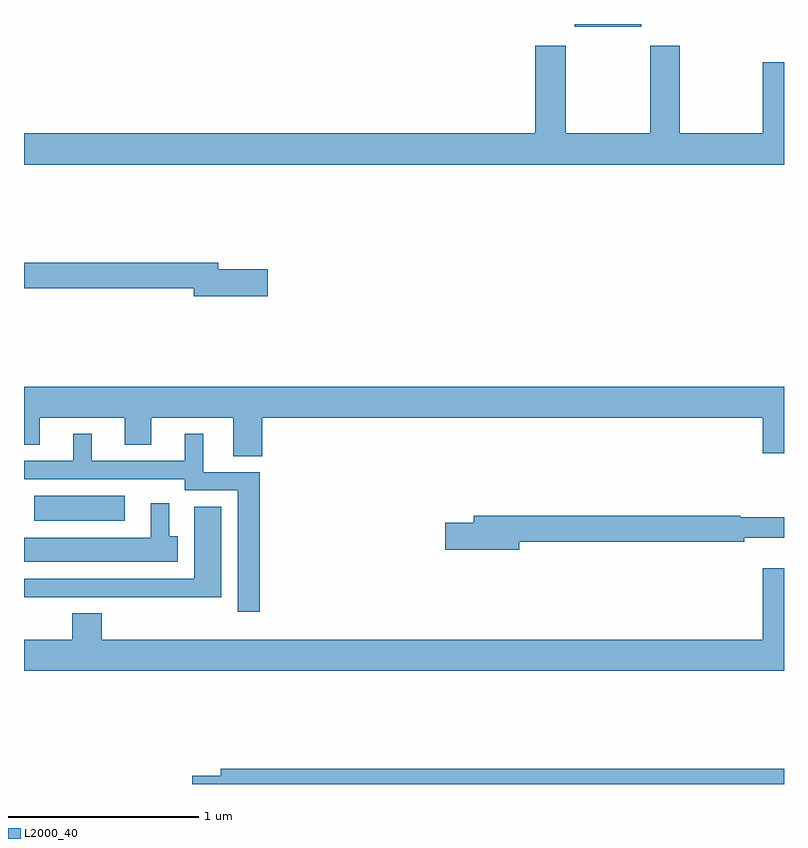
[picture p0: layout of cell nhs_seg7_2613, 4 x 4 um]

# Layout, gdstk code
import gdstk
lib = gdstk.Library(unit=1e-6, precision=1e-09)
def R(c, l, rs):  # rectangles x0, y0, x1, y1
    for r in rs: c.add(gdstk.rectangle(r[:2], r[2:], *l))
def P(c, l, *ps):  # polygons
    for p in ps: c.add(gdstk.Polygon(p, *l))
L2000_40 = (2000, 40)

nhs_seg7_2613 = lib.new_cell('nhs_seg7_2613')
R(nhs_seg7_2613, L2000_40, [(281.055,1021.385,281.53,1021.516), (283.898,1023.986,284.248,1024)])
P(nhs_seg7_2613, L2000_40, [(285,1023.799),(284.888,1023.799),(284.888,1023.424),(284.451,1023.424),(284.451,1023.886),(284.296,1023.886),(284.296,1023.424),(283.851,1023.424),(283.851,1023.886),(283.691,1023.886),(283.691,1023.424),(281,1023.424),(281,1023.26),(285,1023.26)],
  [(282.283,1022.708),(282.022,1022.708),(282.022,1022.744),(281,1022.744),(281,1022.608),(281.894,1022.608),(281.894,1022.566),(282.283,1022.566)],
  [(282.254,1021.928),(284.888,1021.928),(284.888,1021.74),(285,1021.74),(285,1022.092),(281,1022.092),(281,1021.786),(281.083,1021.786),(281.083,1021.928),(281.531,1021.928),(281.531,1021.786),(281.671,1021.786),(281.671,1021.928),(282.101,1021.928),(282.101,1021.726),(282.254,1021.726)],
  [(282.242,1021.641),(281.944,1021.641),(281.944,1021.843),(281.846,1021.843),(281.846,1021.701),(281.356,1021.701),(281.356,1021.843),(281.258,1021.843),(281.258,1021.701),(281,1021.701),(281,1021.605),(281.847,1021.605),(281.847,1021.545),(282.126,1021.545),(282.126,1020.906),(282.242,1020.906)],
  [(281.809,1021.305),(281.764,1021.305),(281.764,1021.477),(281.666,1021.477),(281.666,1021.297),(281,1021.297),(281,1021.169),(281.809,1021.169)],
  [(282.037,1021.459),(281.897,1021.459),(281.897,1021.08),(281,1021.08),(281,1020.984),(281.491,1020.984),(281.491,1020.982),(282.037,1020.982)],
  [(283.606,1021.276),(284.792,1021.276),(284.792,1021.295),(285,1021.295),(285,1021.405),(284.771,1021.405),(284.771,1021.412),(283.367,1021.412),(283.367,1021.376),(283.218,1021.376),(283.218,1021.234),(283.606,1021.234)],
  [(285,1021.135),(284.888,1021.135),(284.888,1020.76),(281.408,1020.76),(281.408,1020.899),(281.255,1020.899),(281.255,1020.76),(281,1020.76),(281,1020.596),(285,1020.596)],
  [(285,1020.08),(282.035,1020.08),(282.035,1020.044),(281.886,1020.044),(281.886,1020),(285,1020)])

lib.write_gds('nhs_seg7_2613.gds')
